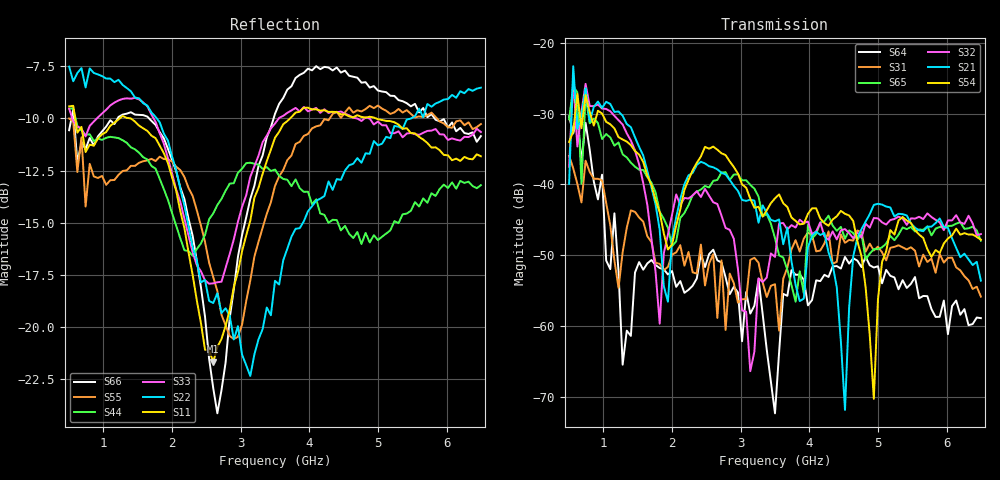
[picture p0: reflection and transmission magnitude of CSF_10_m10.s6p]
!Keysight Technologies,M9804A,MY58100912,A.14.10.03
!Date: Thursday, April 27, 2023 10:28:33
!Correction: S11(C  6-Port  )
!S12(C  6-Port  )
!S13(C  6-Port  )
!S14(C  6-Port  )
!S15(C  6-Port  )
!S16(C  6-Port  )
!S21(C  6-Port  )
!S22(C  6-Port  )
!S23(C  6-Port  )
!S24(C  6-Port  )
!S25(C  6-Port  )
!S26(C  6-Port  )
!S31(C  6-Port  )
!S32(C  6-Port  )
!S33(C  6-Port  )
!S34(C  6-Port  )
!S35(C  6-Port  )
!S36(C  6-Port  )
!S41(C  6-Port  )
!S42(C  6-Port  )
!S43(C  6-Port  )
!S44(C  6-Port  )
!S45(C  6-Port  )
!S46(C  6-Port  )
!S51(C  6-Port  )
!S52(C  6-Port  )
!S53(C  6-Port  )
!S54(C  6-Port  )
!S55(C  6-Port  )
!S56(C  6-Port  )
!S61(C  6-Port  )
!S62(C  6-Port  )
!S63(C  6-Port  )
!S64(C  6-Port  )
!S65(C  6-Port  )
!S66(C  6-Port  )
!S6P File: Measurement: :
# Hz S  RI  R 50
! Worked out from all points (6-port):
!   101 points, 500 MHz to 6.5 GHz, reference 50 ohm
!   strongest paths, dB at 500 MHz, 2 GHz, 3.5 GHz, 5 GHz, 6.5 GHz:
!     S54: -34.0, -48.5, -42.0, -56.2, -47.8
!     S21: -39.9, -47.6, -45.2, -42.7, -53.6
!     S32: -37.5, -44.3, -50.2, -44.8, -47.0
!     S65: -30.8, -48.7, -47.6, -49.1, -47.9
!     S31: -36.0, -49.9, -54.1, -48.8, -55.8
!     S64: -30.4, -52.2, -72.3, -51.5, -58.9
!   lowest |S11| = -21.7 dB at 2.6 GHz (marker M1), VSWR 1.18, Z = 42.6 + j2.06 ohm
!   |S11| at or under -10 dB: 588.4 MHz to 1.236 GHz (647.6 MHz wide, 71 % of centre); 1.401 GHz to 3.719 GHz (2.318 GHz wide, 90.5 % of centre); 4.974 GHz to end of sweep
